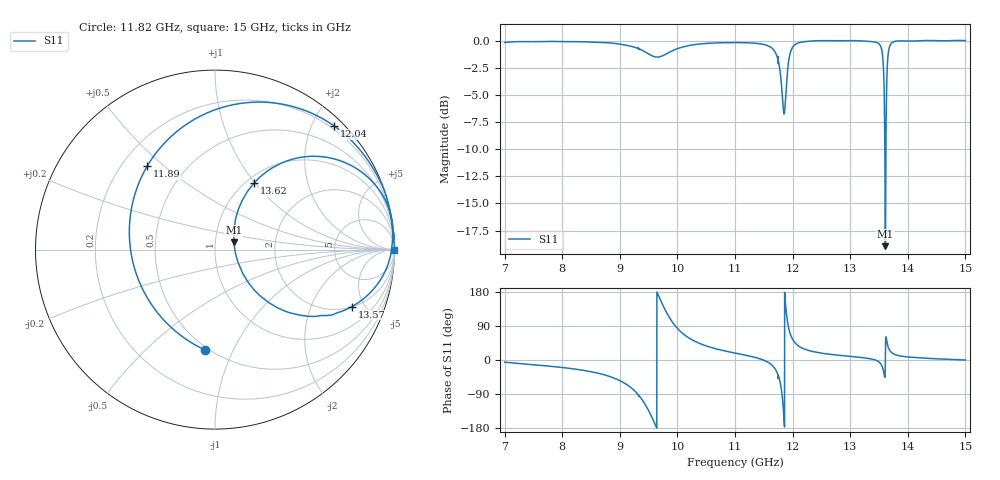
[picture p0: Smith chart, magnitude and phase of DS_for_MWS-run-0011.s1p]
! TOUCHSTONE file generated by CST DESIGN STUDIO
! Date and time: Mon Feb 10 16:43:04 2025
! Project name: C:\Work\MatlabApps\UnitCellType2OptimizationMatlab\CST\unitcell.cst
! Tree item: Tasks\Sweep1\SPara1\S-Parameters
! Header version: 2024
! Port assignment regex: !\s*Touchstone port\s*([0-9]+)\s*=\s*(CST MWS port|CST DES external port|CST DES block port)\s*(.+)\s* \(\"(.*)\"\)(\s*mode\s*([0-9]+))?.*
! Touchstone port assignment:
! Touchstone port 1 = CST DES external port 1 ("")
# GHz S MA R 50
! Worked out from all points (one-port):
!   4001 points, 7 GHz to 15 GHz, reference 50 ohm
!   lowest |S11| = -18.9 dB at 13.61 GHz (marker M1), VSWR 1.25, Z = 61.5 + j5.2 ohm
!   |S11| at or under -10 dB: 13.60188 GHz to 13.6201 GHz (18.22 MHz wide, 0.134 % of centre)
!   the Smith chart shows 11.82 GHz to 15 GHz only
!   S11 on the Smith chart (normalised r, x): 11.82 GHz: 0.48, -0.78; 11.89 GHz: 0.30, +0.44; 12.04 GHz: 0.14, +2.34; 13.57 GHz: 2.02, -4.05; 13.62 GHz: 1.09, +0.99; 15 GHz: open
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7  0.9804 -5.7
8  0.9886 -19.8
9  0.9632 -54.5
9.384  0.9039 -104.2
9.5  0.8676 -133.5
9.626  0.8402 -174.1
9.814  0.8701 124.5
10  0.9177 83.4
10.368  0.9636 44.8
11  0.9789 18.3
11.65  0.9187 -14.8
11.746  0.8446 -45.3
11.82  0.5614 -95.9
11.856  0.4608 -167.8
11.888  0.5987 129.2
11.934  0.8136 82.9
12  0.9316 54.6
12.038  0.9564 46.1
12.294  0.9936 24.5
13  0.9999 9.6
13.482  0.974 -3.3
13.568  0.8264 -22.6
13.612  0.1129 21.7
13.624  0.4304 59.6
13.66  0.8707 33.9
13.72  0.9755 19.5
14  0.9951 8.0
15  0.9997 -0.1
